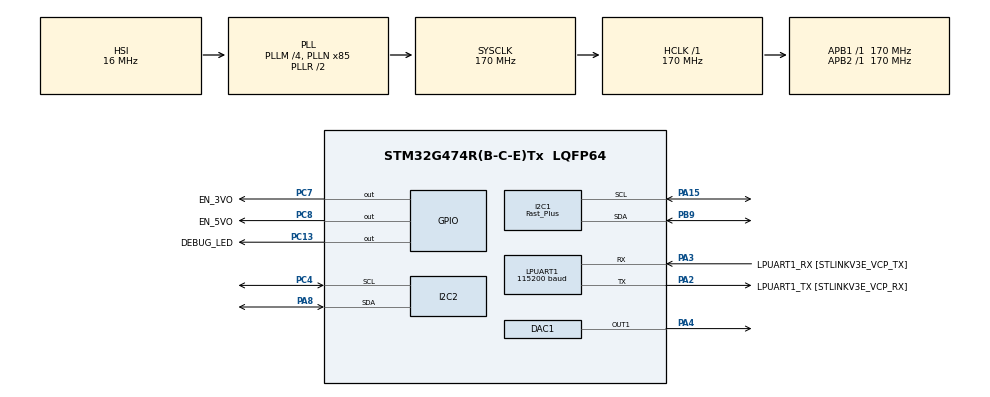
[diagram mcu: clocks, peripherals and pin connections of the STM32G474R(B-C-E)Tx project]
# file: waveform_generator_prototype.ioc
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DAC1.DAC_Trigger_OUT1-DAC_OUT1=DAC_TRIGGER_T2_TRGO
Dma.DAC1_CH1.0.Direction=DMA_MEMORY_TO_PERIPH
Dma.DAC1_CH1.0.EventEnable=DISABLE
Dma.DAC1_CH1.0.Instance=DMA1_Channel3
Dma.DAC1_CH1.0.MemDataAlignment=DMA_MDATAALIGN_HALFWORD
Dma.DAC1_CH1.0.MemInc=DMA_MINC_ENABLE
Dma.DAC1_CH1.0.Mode=DMA_CIRCULAR
Dma.DAC1_CH1.0.PeriphDataAlignment=DMA_PDATAALIGN_WORD
Dma.DAC1_CH1.0.PeriphInc=DMA_PINC_DISABLE
Dma.DAC1_CH1.0.Polarity=HAL_DMAMUX_REQ_GEN_RISING
Dma.DAC1_CH1.0.Priority=DMA_PRIORITY_VERY_HIGH
Dma.DAC1_CH1.0.RequestNumber=1
Dma.DAC1_CH1.0.SignalID=NONE
Dma.DAC1_CH1.0.SyncEnable=DISABLE
Dma.DAC1_CH1.0.SyncPolarity=HAL_DMAMUX_SYNC_NO_EVENT
Dma.DAC1_CH1.0.SyncRequestNumber=1
Dma.DAC1_CH1.0.SyncSignalID=NONE
Dma.Request0=DAC1_CH1
FREERTOS.Tasks01=defaultTask,24,128,StartDefaultTask,Default,NULL,Dynamic,NULL,NULL
FREERTOS.configTOTAL_HEAP_SIZE=8072
FREERTOS.configUSE_NEWLIB_REENTRANT=1
I2C1.I2C_Speed_Mode=I2C_Fast_Plus
I2C1.OwnAddress=0x2B
I2C1.Timing=0x4052060F
I2C2.Timing=0x40B285C2
LPUART1.BaudRate=115200
Mcu.Family=STM32G4
Mcu.Name=STM32G474R(B-C-E)Tx
Mcu.Package=LQFP64
NVIC.DMA1_Channel3_IRQn=true\:5\:0\:false\:false\:true\:false\:false\:true\:true
NVIC.I2C1_ER_IRQn=true\:5\:0\:false\:false\:true\:true\:true\:true\:true
NVIC.I2C1_EV_IRQn=true\:5\:0\:false\:false\:true\:true\:true\:true\:true
NVIC.PriorityGroup=NVIC_PRIORITYGROUP_4
NVIC.TIM3_IRQn=true\:5\:0\:false\:false\:true\:true\:true\:true\:true
NVIC.TIM7_DAC_IRQn=true\:15\:0\:false\:false\:true\:false\:false\:true\:true
NVIC.TimeBase=TIM7_DAC_IRQn
NVIC.TimeBaseIP=TIM7
PA13.GPIO_Label=T_SWDIO
PA13.Mode=Serial_Wire
PA13.Signal=SYS_JTMS-SWDIO
PA14.Mode=Serial_Wire
PA14.Signal=SYS_JTCK-SWCLK
PA15.GPIO_Pu=GPIO_PULLUP
PA15.GPIO_Speed=GPIO_SPEED_FREQ_VERY_HIGH
PA15.Mode=I2C
PA15.Signal=I2C1_SCL
PA2.GPIO_Label=LPUART1_TX [STLINKV3E_VCP_RX]
PA2.Mode=Asynchronous
PA2.Signal=LPUART1_TX
PA3.GPIO_Label=LPUART1_RX [STLINKV3E_VCP_TX]
PA3.Mode=Asynchronous
PA3.Signal=LPUART1_RX
PA4.Signal=COMP_DAC11_group
PA8.Mode=I2C
PA8.Signal=I2C2_SDA
PB3.GPIO_Label=T_SWO
PB3.Signal=SYS_JTDO-SWO
PB9.GPIO_FM7=SYSCFG_FASTMODEPLUS_PB7
PB9.GPIO_Pu=GPIO_PULLUP
PB9.GPIO_Speed=GPIO_SPEED_FREQ_VERY_HIGH
PB9.Mode=I2C
PB9.Signal=I2C1_SDA
PC13.GPIO_Label=DEBUG_LED
PC13.PinState=GPIO_PIN_SET
PC13.Signal=GPIO_Output
PC14-OSC32_IN.GPIO_Label=RCC_OSC32_IN
PC14-OSC32_IN.Signal=RCC_OSC32_IN
PC15-OSC32_OUT.GPIO_Label=RCC_OSC32_OUT
PC15-OSC32_OUT.Signal=RCC_OSC32_OUT
PC4.Mode=I2C
PC4.Signal=I2C2_SCL
PC7.GPIO_Label=EN_3VO
PC7.PinState=GPIO_PIN_SET
PC7.Signal=GPIO_Output
PC8.GPIO_Label=EN_5VO
PC8.PinState=GPIO_PIN_SET
PC8.Signal=GPIO_Output
PF0-OSC_IN.GPIO_Label=RCC_OSC_IN
PF0-OSC_IN.Signal=RCC_OSC_IN
PF1-OSC_OUT.GPIO_Label=RCC_OSC_OUT
PF1-OSC_OUT.Signal=RCC_OSC_OUT
ProjectManager.HeapSize=0x200
ProjectManager.StackSize=0x400
ProjectManager.TargetToolchain=STM32CubeIDE
RCC.ADC12Freq_Value=170000000
RCC.ADC345Freq_Value=170000000
RCC.AHBFreq_Value=170000000
RCC.APB1Freq_Value=170000000
RCC.APB1TimFreq_Value=170000000
RCC.APB2Freq_Value=170000000
RCC.APB2TimFreq_Value=170000000
RCC.CortexFreq_Value=170000000
RCC.EXTERNAL_CLOCK_VALUE=12288000
RCC.HCLKFreq_Value=170000000
RCC.HSE_VALUE=24000000
RCC.HSI48_VALUE=48000000
RCC.HSI_VALUE=16000000
RCC.LSE_VALUE=32768
RCC.PLLM=RCC_PLLM_DIV4
RCC.PLLN=85
RCC.RTCClockSelection=RCC_RTCCLKSOURCE_LSE
RCC.SYSCLKFreq_VALUE=170000000
RCC.SYSCLKSource=RCC_SYSCLKSOURCE_PLLCLK
RCC.USBFreq_Value=170000000
RCC.VCOOutputFreq_Value=340000000
SH.COMP_DAC11_group.0=DAC1_OUT1,DAC_OUT1
TIM2.PeriodNoDither=300
TIM2.TIM_MasterOutputTrigger=TIM_TRGO_UPDATE
TIM3.PeriodNoDither=16999
TIM3.Prescaler=4999
VP_FREERTOS_VS_CMSIS_V2.Mode=CMSIS_V2
VP_SYS_VS_DBSignals.Mode=DisableDeadBatterySignals
VP_SYS_VS_tim7.Mode=TIM7
VP_TIM2_VS_ClockSourceINT.Mode=Internal
VP_TIM3_VS_ClockSourceINT.Mode=Internal
board=NUCLEO-G474RE

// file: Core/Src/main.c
/* USER CODE BEGIN Header */
/**
  ******************************************************************************
  * @file           : main.c
  * @brief          : Main program body
  ******************************************************************************
  * @attention
  *
  * Copyright (c) 2025 STMicroelectronics.
  * All rights reserved.
  *
  * This software is licensed under terms that can be found in the LICENSE file
  * in the root directory of this software component.
  * If no LICENSE file comes with this software, it is provided AS-IS.
  *
  ******************************************************************************
  */
/* USER CODE END Header */
#include "main.h"
#include "cmsis_os.h"

/* USER CODE BEGIN Includes */
#include <stdio.h>
#include "waveform_generator_ll.h"
#include "power_supply_ll.h"
#include "snap_module.h"
/* USER CODE END Includes */

/* USER CODE BEGIN PTD */
extern void CommandProcessingTask(void *argument);
/* USER CODE END PTD */

DAC_HandleTypeDef hdac1;
DMA_HandleTypeDef hdma_dac1_ch1;

I2C_HandleTypeDef hi2c1;
I2C_HandleTypeDef hi2c2;

UART_HandleTypeDef hlpuart1;

TIM_HandleTypeDef htim2;
TIM_HandleTypeDef htim3;

/* Definitions for defaultTask */
osThreadId_t defaultTaskHandle;
const osThreadAttr_t defaultTask_attributes = {
  .name = "defaultTask",
  .priority = (osPriority_t) osPriorityNormal,
  .stack_size = 128 * 4
};
/* USER CODE BEGIN PV */
osThreadId_t commandProcessingTaskHandle;
const osThreadAttr_t commandProcessingTask_attributes = {
		.name = "commandProcessing",
		.stack_size = 128 * 4 * 4,
		.priority = (osPriority_t) osPriorityRealtime
};

osThreadId_t psuHealthTaskHandle;
const osThreadAttr_t psuHealthTask_attributes = {
		.name = "psuHealth",
		.stack_size = 128 * 4 * 4,
		.priority = (osPriority_t) osPriorityNormal
};

PSUObject psu;
AP33772S_t ap;

/* USER CODE END PV */

void SystemClock_Config(void);
static void MX_GPIO_Init(void);
static void MX_DMA_Init(void);
static void MX_TIM2_Init(void);
static void MX_DAC1_Init(void);
static void MX_I2C1_Init(void);
static void MX_TIM3_Init(void);
static void MX_LPUART1_UART_Init(void);
static void MX_I2C2_Init(void);
void StartDefaultTask(void *argument);

/* USER CODE BEGIN PFP */
extern void i2c_fsm_watchdog_callback();
/* USER CODE END PFP */

/* USER CODE BEGIN 0 */
void processCommand(CommandMessage *cmd, CommandResponse *resp) {

	if(cmd->code == COMMAND_SET_WAVEFORM){
		commandSetWaveform(cmd,resp);

	}else if(cmd->code >= COMMAND_PD_ALIVE && cmd->code <= COMMAND_PD_REQUEST_OUTPUT){
		parsePDCommand(&psu, cmd, resp);
	}
	else{
		// INVALID COMMAND

	    // Set response code to SUCCESS
	    resp->code = RESPONSE_INVALID;

	    // Set data length to 0
	    resp->data_len = 0;
	}
}
/* USER CODE END 0 */

int main(void)
{

  /* MCU Configuration--------------------------------------------------------*/

  /* Reset of all peripherals, Initializes the Flash interface and the Systick. */
  HAL_Init();

  /* Configure the system clock */
  SystemClock_Config();

  /* Initialize all configured peripherals */
  MX_GPIO_Init();
  MX_DMA_Init();
  MX_TIM2_Init();
  MX_DAC1_Init();
  MX_I2C1_Init();
  MX_TIM3_Init();
  MX_LPUART1_UART_Init();
  MX_I2C2_Init();
  /* USER CODE BEGIN 2 */

  //Command processing i2c init
  HAL_I2C_EnableListen_IT(&hi2c1);

  initPSUObject(&psu, &ap, &hi2c2);

  /* USER CODE END 2 */

  /* Init scheduler */
  osKernelInitialize();

  /* Create the thread(s) */
  /* creation of defaultTask */
  defaultTaskHandle = osThreadNew(StartDefaultTask, NULL, &defaultTask_attributes);

  /* USER CODE BEGIN RTOS_THREADS */
  /* add threads, ... */
  commandProcessingTaskHandle = osThreadNew(CommandProcessingTask, NULL, &commandProcessingTask_attributes);

  // AP33772S Recovery Task
  psuHealthTaskHandle = osThreadNew(PDHealthTask, &psu, &psuHealthTask_attributes);

  /* USER CODE END RTOS_THREADS */

  /* Start scheduler */
  osKernelStart();

  /* We should never get here as control is now taken by the scheduler */

  /* Infinite loop */
  while (1)
  {

  }
}

void SystemClock_Config(void)
{
  RCC_OscInitTypeDef RCC_OscInitStruct = {0};
  RCC_ClkInitTypeDef RCC_ClkInitStruct = {0};

  /** Configure the main internal regulator output voltage
  */
  HAL_PWREx_ControlVoltageScaling(PWR_REGULATOR_VOLTAGE_SCALE1_BOOST);

  /** Initializes the RCC Oscillators according to the specified parameters
  * in the RCC_OscInitTypeDef structure.
  */
  RCC_OscInitStruct.OscillatorType = RCC_OSCILLATORTYPE_HSI;
  RCC_OscInitStruct.HSIState = RCC_HSI_ON;
  RCC_OscInitStruct.HSICalibrationValue = RCC_HSICALIBRATION_DEFAULT;
  RCC_OscInitStruct.PLL.PLLState = RCC_PLL_ON;
  RCC_OscInitStruct.PLL.PLLSource = RCC_PLLSOURCE_HSI;
  RCC_OscInitStruct.PLL.PLLM = RCC_PLLM_DIV4;
  RCC_OscInitStruct.PLL.PLLN = 85;
  RCC_OscInitStruct.PLL.PLLP = RCC_PLLP_DIV2;
  RCC_OscInitStruct.PLL.PLLQ = RCC_PLLQ_DIV2;
  RCC_OscInitStruct.PLL.PLLR = RCC_PLLR_DIV2;
  if (HAL_RCC_OscConfig(&RCC_OscInitStruct) != HAL_OK)
  {
    Error_Handler();
  }

  /** Initializes the CPU, AHB and APB buses clocks
  */
  RCC_ClkInitStruct.ClockType = RCC_CLOCKTYPE_HCLK|RCC_CLOCKTYPE_SYSCLK
                              |RCC_CLOCKTYPE_PCLK1|RCC_CLOCKTYPE_PCLK2;
  RCC_ClkInitStruct.SYSCLKSource = RCC_SYSCLKSOURCE_PLLCLK;
  RCC_ClkInitStruct.AHBCLKDivider = RCC_SYSCLK_DIV1;
  RCC_ClkInitStruct.APB1CLKDivider = RCC_HCLK_DIV1;
  RCC_ClkInitStruct.APB2CLKDivider = RCC_HCLK_DIV1;

  if (HAL_RCC_ClockConfig(&RCC_ClkInitStruct, FLASH_LATENCY_4) != HAL_OK)
  {
    Error_Handler();
  }
}

static void MX_DAC1_Init(void)
{

  DAC_ChannelConfTypeDef sConfig = {0};

  /** DAC Initialization
  */
  hdac1.Instance = DAC1;
  if (HAL_DAC_Init(&hdac1) != HAL_OK)
  {
    Error_Handler();
  }

  /** DAC channel OUT1 config
  */
  sConfig.DAC_HighFrequency = DAC_HIGH_FREQUENCY_INTERFACE_MODE_AUTOMATIC;
  sConfig.DAC_DMADoubleDataMode = DISABLE;
  sConfig.DAC_SignedFormat = DISABLE;
  sConfig.DAC_SampleAndHold = DAC_SAMPLEANDHOLD_DISABLE;
  sConfig.DAC_Trigger = DAC_TRIGGER_T2_TRGO;
  sConfig.DAC_Trigger2 = DAC_TRIGGER_NONE;
  sConfig.DAC_OutputBuffer = DAC_OUTPUTBUFFER_ENABLE;
  sConfig.DAC_ConnectOnChipPeripheral = DAC_CHIPCONNECT_EXTERNAL;
  sConfig.DAC_UserTrimming = DAC_TRIMMING_FACTORY;
  if (HAL_DAC_ConfigChannel(&hdac1, &sConfig, DAC_CHANNEL_1) != HAL_OK)
  {
    Error_Handler();
  }

}

static void MX_I2C1_Init(void)
{

  hi2c1.Instance = I2C1;
  hi2c1.Init.Timing = 0x4052060F;
  hi2c1.Init.OwnAddress1 = 86;
  hi2c1.Init.AddressingMode = I2C_ADDRESSINGMODE_7BIT;
  hi2c1.Init.DualAddressMode = I2C_DUALADDRESS_DISABLE;
  hi2c1.Init.OwnAddress2 = 0;
  hi2c1.Init.OwnAddress2Masks = I2C_OA2_NOMASK;
  hi2c1.Init.GeneralCallMode = I2C_GENERALCALL_DISABLE;
  hi2c1.Init.NoStretchMode = I2C_NOSTRETCH_DISABLE;
  if (HAL_I2C_Init(&hi2c1) != HAL_OK)
  {
    Error_Handler();
  }

  /** Configure Analogue filter
  */
  if (HAL_I2CEx_ConfigAnalogFilter(&hi2c1, I2C_ANALOGFILTER_ENABLE) != HAL_OK)
  {
    Error_Handler();
  }

  /** Configure Digital filter
  */
  if (HAL_I2CEx_ConfigDigitalFilter(&hi2c1, 0) != HAL_OK)
  {
    Error_Handler();
  }

  /** I2C Fast mode Plus enable
  */
  HAL_I2CEx_EnableFastModePlus(I2C_FASTMODEPLUS_I2C1);

}

static void MX_I2C2_Init(void)
{

  hi2c2.Instance = I2C2;
  hi2c2.Init.Timing = 0x40B285C2;
  hi2c2.Init.OwnAddress1 = 0;
  hi2c2.Init.AddressingMode = I2C_ADDRESSINGMODE_7BIT;
  hi2c2.Init.DualAddressMode = I2C_DUALADDRESS_DISABLE;
  hi2c2.Init.OwnAddress2 = 0;
  hi2c2.Init.OwnAddress2Masks = I2C_OA2_NOMASK;
  hi2c2.Init.GeneralCallMode = I2C_GENERALCALL_DISABLE;
  hi2c2.Init.NoStretchMode = I2C_NOSTRETCH_DISABLE;
  if (HAL_I2C_Init(&hi2c2) != HAL_OK)
  {
    Error_Handler();
  }

  /** Configure Analogue filter
  */
  if (HAL_I2CEx_ConfigAnalogFilter(&hi2c2, I2C_ANALOGFILTER_ENABLE) != HAL_OK)
  {
    Error_Handler();
  }

  /** Configure Digital filter
  */
  if (HAL_I2CEx_ConfigDigitalFilter(&hi2c2, 0) != HAL_OK)
  {
    Error_Handler();
  }

}

static void MX_LPUART1_UART_Init(void)
{

  hlpuart1.Instance = LPUART1;
  hlpuart1.Init.BaudRate = 115200;
  hlpuart1.Init.WordLength = UART_WORDLENGTH_8B;
  hlpuart1.Init.StopBits = UART_STOPBITS_1;
  hlpuart1.Init.Parity = UART_PARITY_NONE;
  hlpuart1.Init.Mode = UART_MODE_TX_RX;
  hlpuart1.Init.HwFlowCtl = UART_HWCONTROL_NONE;
  hlpuart1.Init.OneBitSampling = UART_ONE_BIT_SAMPLE_DISABLE;
  hlpuart1.Init.ClockPrescaler = UART_PRESCALER_DIV1;
  hlpuart1.AdvancedInit.AdvFeatureInit = UART_ADVFEATURE_NO_INIT;
  if (HAL_UART_Init(&hlpuart1) != HAL_OK)
  {
    Error_Handler();
  }
  if (HAL_UARTEx_SetTxFifoThreshold(&hlpuart1, UART_TXFIFO_THRESHOLD_1_8) != HAL_OK)
  {
    Error_Handler();
  }
  if (HAL_UARTEx_SetRxFifoThreshold(&hlpuart1, UART_RXFIFO_THRESHOLD_1_8) != HAL_OK)
  {
    Error_Handler();
  }
  if (HAL_UARTEx_DisableFifoMode(&hlpuart1) != HAL_OK)
  {
    Error_Handler();
  }

}

static void MX_TIM2_Init(void)
{

  TIM_ClockConfigTypeDef sClockSourceConfig = {0};
  TIM_MasterConfigTypeDef sMasterConfig = {0};

  htim2.Instance = TIM2;
  htim2.Init.Prescaler = 0;
  htim2.Init.CounterMode = TIM_COUNTERMODE_UP;
  htim2.Init.Period = 300;
  htim2.Init.ClockDivision = TIM_CLOCKDIVISION_DIV1;
  htim2.Init.AutoReloadPreload = TIM_AUTORELOAD_PRELOAD_DISABLE;
  if (HAL_TIM_Base_Init(&htim2) != HAL_OK)
  {
    Error_Handler();
  }
  sClockSourceConfig.ClockSource = TIM_CLOCKSOURCE_INTERNAL;
  if (HAL_TIM_ConfigClockSource(&htim2, &sClockSourceConfig) != HAL_OK)
  {
    Error_Handler();
  }
  sMasterConfig.MasterOutputTrigger = TIM_TRGO_UPDATE;
  sMasterConfig.MasterSlaveMode = TIM_MASTERSLAVEMODE_DISABLE;
  if (HAL_TIMEx_MasterConfigSynchronization(&htim2, &sMasterConfig) != HAL_OK)
  {
    Error_Handler();
  }

}

static void MX_TIM3_Init(void)
{

  TIM_ClockConfigTypeDef sClockSourceConfig = {0};
  TIM_MasterConfigTypeDef sMasterConfig = {0};

  htim3.Instance = TIM3;
  htim3.Init.Prescaler = 4999;
  htim3.Init.CounterMode = TIM_COUNTERMODE_UP;
  htim3.Init.Period = 16999;
  htim3.Init.ClockDivision = TIM_CLOCKDIVISION_DIV1;
  htim3.Init.AutoReloadPreload = TIM_AUTORELOAD_PRELOAD_DISABLE;
  if (HAL_TIM_Base_Init(&htim3) != HAL_OK)
  {
    Error_Handler();
  }
  sClockSourceConfig.ClockSource = TIM_CLOCKSOURCE_INTERNAL;
  if (HAL_TIM_ConfigClockSource(&htim3, &sClockSourceConfig) != HAL_OK)
  {
    Error_Handler();
  }
  sMasterConfig.MasterOutputTrigger = TIM_TRGO_RESET;
  sMasterConfig.MasterSlaveMode = TIM_MASTERSLAVEMODE_DISABLE;
  if (HAL_TIMEx_MasterConfigSynchronization(&htim3, &sMasterConfig) != HAL_OK)
  {
    Error_Handler();
  }

}

static void MX_DMA_Init(void)
{

  /* DMA controller clock enable */
  __HAL_RCC_DMAMUX1_CLK_ENABLE();
  __HAL_RCC_DMA1_CLK_ENABLE();

  /* DMA interrupt init */
  /* DMA1_Channel3_IRQn interrupt configuration */
  HAL_NVIC_SetPriority(DMA1_Channel3_IRQn, 5, 0);
  HAL_NVIC_EnableIRQ(DMA1_Channel3_IRQn);

}

static void MX_GPIO_Init(void)
{
  GPIO_InitTypeDef GPIO_InitStruct = {0};

  /* GPIO Ports Clock Enable */
  __HAL_RCC_GPIOC_CLK_ENABLE();
  __HAL_RCC_GPIOF_CLK_ENABLE();
  __HAL_RCC_GPIOA_CLK_ENABLE();
  __HAL_RCC_GPIOB_CLK_ENABLE();

  /*Configure GPIO pin Output Level */
  HAL_GPIO_WritePin(GPIOC, DEBUG_LED_Pin|EN_3VO_Pin|EN_5VO_Pin, GPIO_PIN_SET);

  /*Configure GPIO pins : DEBUG_LED_Pin EN_3VO_Pin EN_5VO_Pin */
  GPIO_InitStruct.Pin = DEBUG_LED_Pin|EN_3VO_Pin|EN_5VO_Pin;
  GPIO_InitStruct.Mode = GPIO_MODE_OUTPUT_PP;
  GPIO_InitStruct.Pull = GPIO_NOPULL;
  GPIO_InitStruct.Speed = GPIO_SPEED_FREQ_LOW;
  HAL_GPIO_Init(GPIOC, &GPIO_InitStruct);

}

/* USER CODE BEGIN 4 */
#ifdef __GNUC__
#define PUTCHAR_PROTOTYPE int __io_putchar(int ch)
#else
  #define PUTCHAR_PROTOTYPE int fputc(int ch, FILE *f)
#endif /* __GNUC__ */
PUTCHAR_PROTOTYPE
{
  HAL_UART_Transmit(&hlpuart1, (uint8_t *)&ch, 1, 0xFFFF);
  return ch;
}
/* USER CODE END 4 */

void StartDefaultTask(void *argument)
{
  for(;;)
  {
    osDelay(1);
  }
}

void HAL_TIM_PeriodElapsedCallback(TIM_HandleTypeDef *htim)
{
  /* USER CODE BEGIN Callback 0 */
  if (htim->Instance == TIM3)
  {
  	i2c_fsm_watchdog_callback();
  }
  /* USER CODE END Callback 0 */
  if (htim->Instance == TIM7)
  {
    HAL_IncTick();
  }
}

void Error_Handler(void)
{
  __disable_irq();
  while (1)
  {
  }
}
